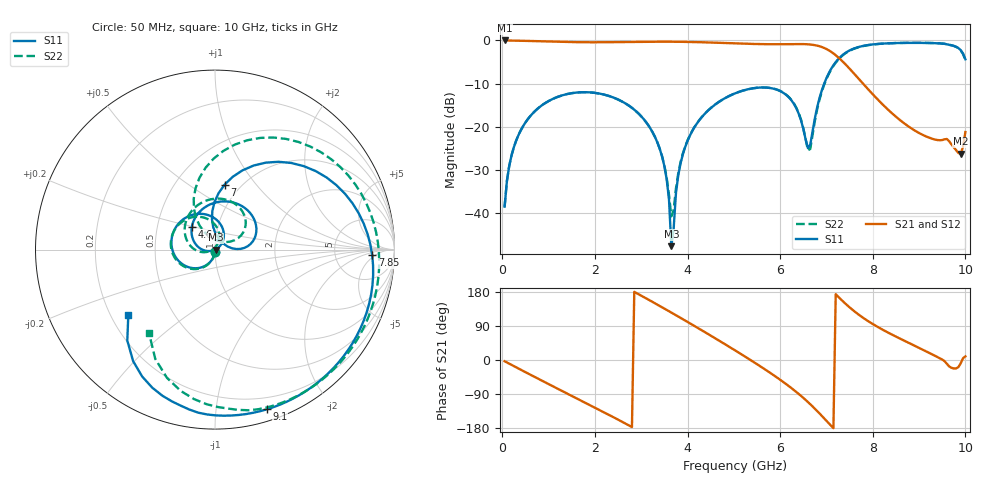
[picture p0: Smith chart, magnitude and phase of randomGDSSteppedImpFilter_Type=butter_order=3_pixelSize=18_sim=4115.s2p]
! freq	dB(S11)	phase(S11)	dB(S12)	phase(S12)
!  dB(S21)	phase(S21)	dB(S22)	phase(S22)
!S-par simulation data
#  GHz  S  DB  R 50
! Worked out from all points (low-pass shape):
!   200 points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, 50 MHz to 10 GHz, reference 50 ohm
!   highest |S21| = -0.01 dB at 50 MHz (marker M1); lowest = -26.2 dB at 9.9 GHz (marker M2)
!   |S21| within 3 dB of the highest: start of sweep to 7.15 GHz
!   lowest |S11| = -47.7 dB at 3.65 GHz (marker M3), VSWR 1.01, Z = 50.4 - j0.0135 ohm
!   |S11| at or under -10 dB: start of sweep to 6.951 GHz
!   |S22| runs from -40.7 to -0.5 dB; largest |S21 - S12| = 0
!   S11 on the Smith chart (normalised r, x): 50 MHz: 1.00, -0.02; 4.6 GHz: 0.75, +0.20; 7 GHz: 0.84, +0.71; 7.85 GHz: 14, -4; 9.1 GHz: 0.10, -1.37; 10 GHz: 0.27, -0.31
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0.05  -38.50 -92.7  -0.01 -3.3  -0.01 -3.3  -38.50 -92.5
0.2  -26.61 -103.1  -0.03 -12.9  -0.03 -12.9  -26.61 -102.5
0.5  -19.00 -123.3  -0.10 -32.1  -0.10 -32.1  -19.00 -121.7
1.75  -11.99 156.2  -0.42 -110.1  -0.42 -110.1  -11.99 162.5
2.65  -14.53 97.0  -0.36 -167.1  -0.36 -167.1  -14.53 108.7
3.4  -25.11 44.1  -0.28 142.6  -0.28 142.6  -25.08 67.0
3.55  -32.15 32.5  -0.29 132.2  -0.29 132.2  -31.82 67.7
3.65  -47.66 -1.8  -0.29 125.2  -0.29 125.2  -40.74 110.2
3.9  -26.34 -171.5  -0.33 107.6  -0.33 107.6  -26.15 -164.2
4.6  -14.82 135.2  -0.52 57.1  -0.52 57.1  -14.81 155.3
5.05  -12.16 100.6  -0.69 23.6  -0.69 23.6  -12.16 124.3
5.85  -11.16 38.7  -0.88 -39.3  -0.88 -39.3  -11.14 65.2
6.35  -15.72 3.3  -0.83 -84.4  -0.83 -84.4  -15.60 28.6
6.6  -24.95 37.5  -0.90 -110.9  -0.90 -110.9  -25.43 57.2
6.7  -21.08 87.7  -1.01 -122.5  -1.01 -122.5  -21.92 113.8
7  -8.72 81.5  -2.00 -160.4  -2.00 -160.4  -8.93 107.7
7.4  -2.96 38.0  -5.42 149.7  -5.42 149.7  -3.05 62.5
7.85  -1.15 -2.0  -10.73 106.5  -10.73 106.5  -1.18 20.9
8.35  -0.66 -34.2  -16.24 71.1  -16.24 71.1  -0.66 -13.1
9.1  -0.58 -72.0  -21.99 25.9  -21.99 25.9  -0.55 -53.0
9.9  -2.26 -126.3  -26.22 -8.4  -26.22 -8.4  -2.35 -110.6
10  -4.36 -143.0  -21.22 9.5  -21.22 9.5  -4.54 -128.3
